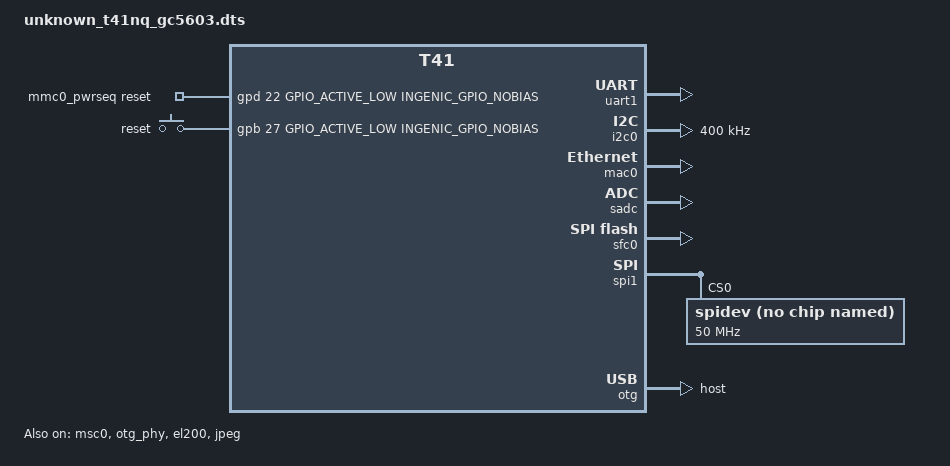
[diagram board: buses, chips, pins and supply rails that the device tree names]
/dts-v1/;

#include <dt-bindings/input/input.h>
#include "t41.dtsi"
#include <dt-bindings/interrupt-controller/irq.h>

/ {
	compatible = "ingenic,marmot", "ingenic,t41";

	mmc0_pwrseq: mmc0_pwrseq {
		compatible = "mmc-pwrseq-simple";
		reset-gpios = <&gpd 22 GPIO_ACTIVE_LOW INGENIC_GPIO_NOBIAS>;
	};
};

&uart0 {
	status = "disable";
	pinctrl-names = "default";
	pinctrl-0 = <&uart0_pc>;
};
&uart1 {
	status = "okay";
	pinctrl-names = "default";
	pinctrl-0 = <&uart1_pb>;
};
&uart2 {
	status = "disable";
	pinctrl-names = "default";
	pinctrl-0 = <&uart2_pd>;
};
&uart3 {
	status = "disable";
	pinctrl-names = "default";
	pinctrl-0 = <&uart3_pb>;
};
&uart4 {
	status = "disable";
	pinctrl-names = "default";
	pinctrl-0 = <&uart4_pb>;
};
&uart5 {
	status = "disable";
	pinctrl-names = "default";
	pinctrl-0 = <&uart5_pd>;
};

&i2c0 {
	pinctrl-0 = <&i2c0_pa>;
	pinctrl-names = "default";
	clock-frequency = <400000>;
	status = "okay";
};
&i2c1 {
	pinctrl-0 = <&i2c1_pb>;
	pinctrl-names = "default";
	clock-frequency = <400000>;
	status = "disable";
};
&i2c2 {
	pinctrl-0 = <&i2c2_pc>;
	pinctrl-names = "default";
	clock-frequency = <400000>;
	status = "disable";
};

&vo {
	pinctrl-0 = <&vo_pd>;
	pinctrl-names = "default";
	status = "disable";
};

&cpufreq {
	status = "okay";
	operating-points = <
		/*KHZ uV */
		1200000	900000
		1104000	900000
		1008000	900000
		912000	900000
		891000	900000
		750000	900000
		600000	900000
		500000	900000
		400000	900000
		375000	900000
		300000	900000
		200000	900000
			>;

};

&pdma {
	status = "okay";
};

&msc0 {
	status = "okay";
	pinctrl-names = "default";
	/*mmc-hs200-1_8v;*/
	cap-mmc-highspeed;
	max-frequency = <25000000>;
	bus-width = <4>;
	voltage-ranges = <1800 3300>;

	/* special property */
	ingenic,wp-gpios = <0>;
	ingenic,cd-gpios = <&gpb 26 GPIO_ACTIVE_LOW INGENIC_GPIO_NOBIAS>;
	cd-inverted;
	ingenic,rst-gpios = <0>;
	pinctrl-0 = <&msc0_pb>;
	//mmc-pwrseq = <&mmc0_pwrseq>;
};

&msc1 {
	status = "disable";
	pinctrl-names = "default";
	/*mmc-hs200-1_8v;*/
	cap-mmc-highspeed;
	max-frequency = <50000000>;
	bus-width = <4>;
	voltage-ranges = <1800 3300>;
	non-removable;

	/* special property */
	ingenic,wp-gpios = <0>;
	ingenic,rst-gpios = <0>;
	pinctrl-0 = <&msc1_pc>;
};

&mac0 {
	pinctrl-names = "default";
	pinctrl-0 = <&mac0_rmii_p0_normal>, <&mac0_rmii_p1_normal>;
	pinctrl-1 = <&mac0_rmii_p0_rst>, <&mac0_rmii_p1_normal>;
	status = "okay";
	//ingenic,rst-gpio = <&gpb 28 GPIO_ACTIVE_LOW INGENIC_GPIO_NOBIAS>;
	ingenic,rst-ms = <10>;
	ingenic,mac-mode = <RMII>;
	ingenic,mode-reg = <0xb00000e8>;
	ingenic,phy-clk-freq = <50000000>;
};

&sadc {
	status = "okay";
};

&sfc0 {
	status = "okay";
    pinctrl-names = "default";
	ingenic,sfc-max-frequency = <100000000>;
	ingenic,use_board_info      = /bits/ 8 <0>;
	ingenic,spiflash_param_offset = <0>;
	ingenic,spiflash_type = <0>;
	pinctrl-0 = <&sfc0_pa>;
};

&sfc1 {
	status = "disable";
    pinctrl-names = "default";
	ingenic,sfc-max-frequency = <100000000>;
	ingenic,use_board_info      = /bits/ 8 <0>;
	ingenic,spiflash_param_offset = <0>;
	ingenic,spiflash_type = <1>;
	pinctrl-0 = <&sfc1_pa>;
};

&spi0 {
	status = "disable";
	pinctrl-names = "default";
	pinctrl-0 = <&spi0_pa>;

	spi-max-frequency = <50000000>;
	num-cs = <2>;
	cs-gpios = <0>, <0>;
	ingenic,chnl = <0>;
	ingenic,allow_cs_same = <1>;
	ingenic,bus_num = <0>;
	ingenic,has_dma_support = <1>;
};

&spi1 {
	status = "okay";
	pinctrl-names = "default";
	pinctrl-0 = <&spi1_pa>;

	spi-max-frequency = <50000000>;
	num-cs = <2>;
	cs-gpios = <0>, <0>;
	ingenic,chnl = <1>;
	ingenic,allow_cs_same = <1>;
	ingenic,bus_num = <1>;
	ingenic,has_dma_support = <1>;
	spidev: spidev@0 {
		compatible = "ingenic,spidev";
		reg = <0>;
		spi-max-frequency = <50000000>;
	};
};

&dtrng {
	status = "disable";
};

&otg {
	g-use-dma;
	dr_mode = "host";
	status = "okay";
};

&otg_phy {
	dr_mode = "host";
	compatible = "ingenic,innophy", "syscon";
	ingenic,drvvbus-gpio = <0>;
	//ingenic,drvvbus-gpio = <&gpb 27 GPIO_ACTIVE_HIGH INGENIC_GPIO_NOBIAS>;
	status = "okay";
};

/ {

	extclk: extclk {
		clock-frequency = <24000000>;
	};

	gpio_keys: gpio_keys {
		   compatible = "gpio-keys";

                   reset {
                           label = "reset";
                           linux,code = <KEY_ENTER>;
                           gpios = <&gpb 27 GPIO_ACTIVE_LOW INGENIC_GPIO_NOBIAS>;
                   };
	   };
};

&el200 {
	status = "okay";
};

&jpeg {
        status = "okay";
};

&dpu {
	status = "disable";
};


/ {
	display-dbi {
		compatible = "simple-bus";
		#interrupt-cells = <1>;
		#address-cells = <1>;
		#size-cells = <1>;
		ranges = <>;
		panel_truly240240@0 {
			compatible = "ingenic,truly240240";
			pinctrl-names = "default";
			pinctrl-0 = <&smart_lcd_pd>;
			/*ingenic,rst-gpio = <&gpc 7 GPIO_ACTIVE_LOW INGENIC_GPIO_NOBIAS>;*/
			ingenic,rst-gpio = <&gpd 9 GPIO_ACTIVE_HIGH INGENIC_GPIO_NOBIAS>;
			ingenic,rd-gpio = <&gpd 12 GPIO_ACTIVE_HIGH INGENIC_GPIO_NOBIAS>;
			ingenic,cs-gpio = <&gpd 10 GPIO_ACTIVE_HIGH INGENIC_GPIO_NOBIAS>;
			status = "disable";
		};

		panel_st7789v240320@0 {
			compatible = "ingenic,st7789v240320";
			pinctrl-names = "default";
			pinctrl-0 = <&smart_lcd_pd>;
			/*ingenic,rst-gpio = <&gpc 7 GPIO_ACTIVE_LOW INGENIC_GPIO_NOBIAS>;*/
			ingenic,rst-gpio = <&gpd 9 GPIO_ACTIVE_HIGH INGENIC_GPIO_NOBIAS>;
			ingenic,rd-gpio = <&gpd 12 GPIO_ACTIVE_HIGH INGENIC_GPIO_NOBIAS>;
			ingenic,cs-gpio = <&gpd 10 GPIO_ACTIVE_HIGH INGENIC_GPIO_NOBIAS>;
			ingenic,bl-gpio = <&gpd 27 GPIO_ACTIVE_HIGH INGENIC_GPIO_NOBIAS>;
			status = "disable";
		};

	};
};

